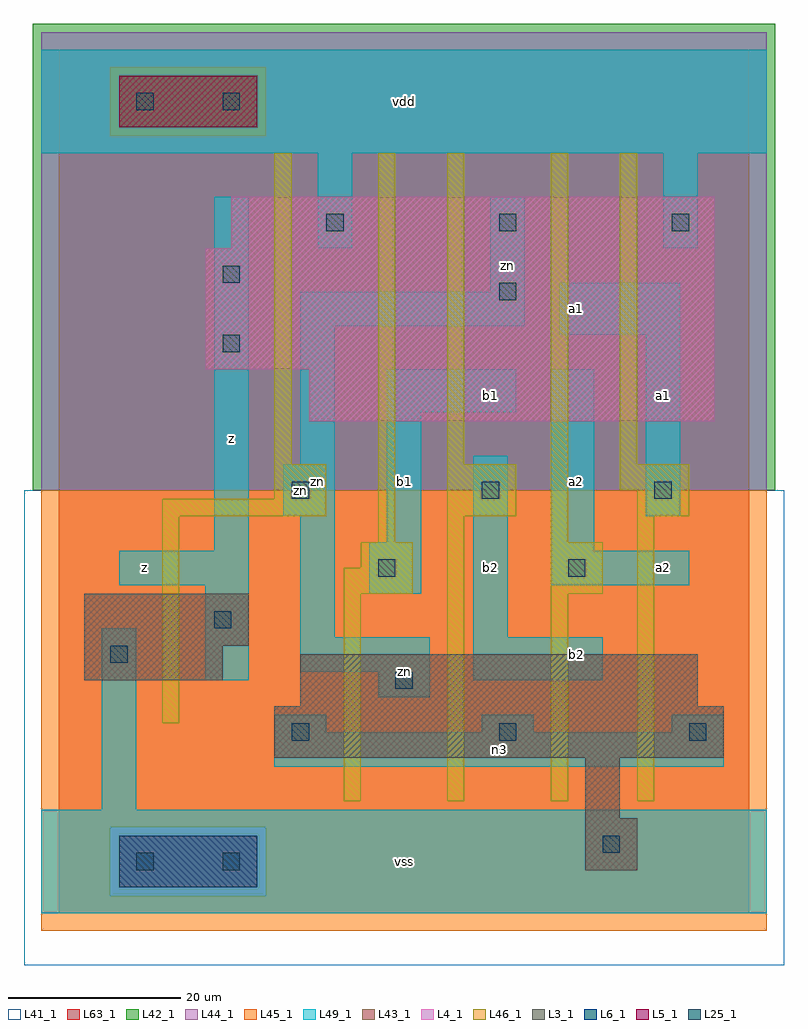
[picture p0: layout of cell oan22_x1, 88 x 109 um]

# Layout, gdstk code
import gdstk
lib = gdstk.Library(unit=1e-6, precision=1e-09)
def R(c, l, rs):  # rectangles x0, y0, x1, y1
    for r in rs: c.add(gdstk.rectangle(r[:2], r[2:], *l))
def A(c, l, x, y, w, h, nx, ny, dx, dy):  # array of equal rectangles
    R(c, l, [(x+i*dx, y+j*dy, x+i*dx+w, y+j*dy+h) for i in range(nx) for j in range(ny)])
L3_1 = (3, 1)
L4_1 = (4, 1)
L5_1 = (5, 1)
L6_1 = (6, 1)
L25_1 = (25, 1)
L41_1 = (41, 1)
L42_1 = (42, 1)
L43_1 = (43, 1)
L44_1 = (44, 1)
L45_1 = (45, 1)
L46_1 = (46, 1)
L49_1 = (49, 1)
L63_1 = (63, 1)

oan22_x1 = lib.new_cell('oan22_x1')
R(oan22_x1, L3_1, [(61,5,67,11), (61,11,65,18), (25,18,77,24), (28,24,74,30), (3,27,19,31), (3,31,22,37)])
R(oan22_x1, L4_1, [(29,57,76,63), (17,63,76,77), (20,77,76,83)])
R(oan22_x1, L5_1, [(7,91,23,97)])
R(oan22_x1, L6_1, [(7,3,23,9)])
A(oan22_x1, L25_1, 31, 79, 2, 2, 3, 1, 20, 0)
R(oan22_x1, L25_1, [(9,5,11,7), (19,5,21,7), (63,7,65,9), (27,20,29,22), (51,20,53,22), (73,20,75,22), (39,26,41,28), (6,29,8,31), (18,33,20,35), (37,39,39,41), (59,39,61,41), (27,48,29,50), (49,48,51,50), (69,48,71,50), (19,65,21,67), (51,71,53,73), (19,73,21,75), (9,93,11,95), (19,93,21,95)])
R(oan22_x1, L41_1, [(-4,-6,84,49), (-3,-3,83,49)])
R(oan22_x1, L42_1, [(-3,49,83,103)])
R(oan22_x1, L43_1, [(7,3,23,9), (61,5,67,11), (61,11,65,18), (25,18,77,24), (28,24,74,30), (3,27,19,31), (3,31,22,37), (29,57,76,63), (17,63,76,77), (20,77,76,83), (7,91,23,97)])
R(oan22_x1, L44_1, [(6,2,24,10), (-2,49,82,90), (-2,90,6,98), (24,90,82,98), (-2,98,82,102)])
R(oan22_x1, L45_1, [(-2,-2,82,2), (-2,2,6,10), (24,2,82,10), (-2,10,82,49), (6,90,24,98)])
A(oan22_x1, L46_1, 25, 52, 2, 36, 3, 1, 20, 0)
R(oan22_x1, L46_1, [(33,13,35,37), (45,13,47,46), (57,13,59,37), (67,13,69,46), (12,22,14,46), (33,37,41,40), (57,37,63,43), (35,40,41,43), (37,43,39,88), (57,43,59,88), (12,46,31,48), (45,46,53,52), (67,46,73,49), (25,48,31,52), (65,49,73,52)])
R(oan22_x1, L49_1, [(-2,0,82,12), (5,12,9,33), (25,17,77,21), (25,21,31,23), (49,21,55,23), (71,21,77,23), (37,25,43,28), (17,27,22,38), (48,27,63,32), (28,28,43,32), (28,32,32,46), (48,32,52,53), (36,37,42,43), (7,38,22,42), (57,38,73,42), (18,42,22,83), (57,42,62,63), (38,43,42,58), (26,46,32,52), (68,46,72,67), (28,52,32,68), (38,58,53,63), (58,67,72,73), (28,68,54,72), (50,72,54,83), (30,77,34,88), (70,77,74,88), (-2,88,82,100)])
R(oan22_x1, L63_1, [(0,0,80,100)])
oan22_x1.add(gdstk.Label('zn', (28,49), layer=49, texttype=1))
oan22_x1.add(gdstk.Label('z', (10,40), layer=49, texttype=1))
oan22_x1.add(gdstk.Label('z', (10,40), layer=49, texttype=1))
oan22_x1.add(gdstk.Label('z', (20,55), layer=49, texttype=1))
oan22_x1.add(gdstk.Label('z', (20,55), layer=49, texttype=1))
oan22_x1.add(gdstk.Label('vss', (40,6), layer=49, texttype=1))
oan22_x1.add(gdstk.Label('vss', (40,6), layer=49, texttype=1))
oan22_x1.add(gdstk.Label('zn', (40,28), layer=49, texttype=1))
oan22_x1.add(gdstk.Label('b1', (40,50), layer=49, texttype=1))
oan22_x1.add(gdstk.Label('b1', (40,50), layer=49, texttype=1))
oan22_x1.add(gdstk.Label('zn', (30,50), layer=49, texttype=1))
oan22_x1.add(gdstk.Label('vdd', (40,94), layer=49, texttype=1))
oan22_x1.add(gdstk.Label('vdd', (40,94), layer=49, texttype=1))
oan22_x1.add(gdstk.Label('b2', (60,30), layer=49, texttype=1))
oan22_x1.add(gdstk.Label('b2', (60,30), layer=49, texttype=1))
oan22_x1.add(gdstk.Label('b2', (50,40), layer=49, texttype=1))
oan22_x1.add(gdstk.Label('b2', (50,40), layer=49, texttype=1))
oan22_x1.add(gdstk.Label('a2', (60,50), layer=49, texttype=1))
oan22_x1.add(gdstk.Label('a2', (60,50), layer=49, texttype=1))
oan22_x1.add(gdstk.Label('b1', (50,60), layer=49, texttype=1))
oan22_x1.add(gdstk.Label('b1', (50,60), layer=49, texttype=1))
oan22_x1.add(gdstk.Label('a1', (60,70), layer=49, texttype=1))
oan22_x1.add(gdstk.Label('a1', (60,70), layer=49, texttype=1))
oan22_x1.add(gdstk.Label('zn', (52,75), layer=49, texttype=1))
oan22_x1.add(gdstk.Label('n3', (51,19), layer=49, texttype=1))
oan22_x1.add(gdstk.Label('a2', (70,40), layer=49, texttype=1))
oan22_x1.add(gdstk.Label('a2', (70,40), layer=49, texttype=1))
oan22_x1.add(gdstk.Label('a1', (70,60), layer=49, texttype=1))
oan22_x1.add(gdstk.Label('a1', (70,60), layer=49, texttype=1))

lib.write_gds('oan22_x1.gds')
